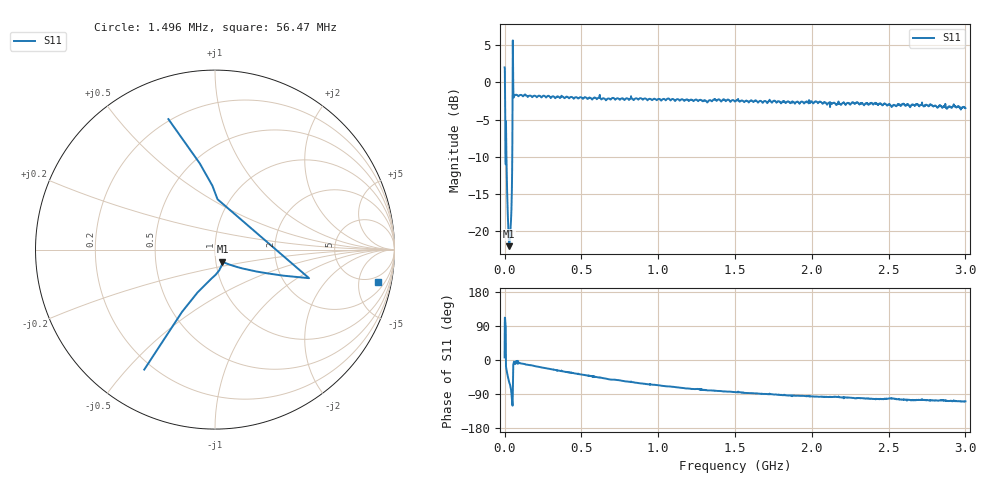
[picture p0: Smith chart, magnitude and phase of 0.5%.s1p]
# HZ S RI R 50
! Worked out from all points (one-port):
!   2020 points, 10 kHz to 3 GHz, reference 50 ohm
!   lowest |S11| = -22.1 dB at 29.73 MHz (marker M1), VSWR 1.17, Z = 53.8 - j7.29 ohm
!   |S11| at or under -10 dB: 6.7 MHz to 7.705 MHz (1.005 MHz wide, 14 % of centre); 11.91 MHz to 49.77 MHz (37.86 MHz wide, 123 % of centre)
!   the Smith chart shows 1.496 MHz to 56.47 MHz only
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10000  1.254 0.1477
7439395  0.0142 0.2802
1.635467e7  0.1528 -0.105
1.932643e7  0.109 -0.0926
2.378406e7  0.07 -0.0795
2.972758e7  0.0411 -0.0673
3.56711e7  0.0379 -0.0844
3.715698e7  0.0355 -0.0908
3.864285e7  0.0332 -0.0975
4.310049e7  0.015 -0.1263
5.64734e7  0.9064 -0.1828
6.241692e7  0.8083 -0.0722
6.687456e7  0.815 -0.085
6.836043e7  0.8064 -0.1539
6.984631e7  0.8206 -0.0684
7.430395e7  0.8189 -0.0948
3.759374e8  0.696 -0.399
6.047628e8  0.5465 -0.5573
7.503789e8  0.4497 -0.6172
8.930233e8  0.3647 -0.6858
1.126306e9  0.235 -0.7356
1.500748e9  0.0685 -0.7404
1.875189e9  -0.0514 -0.7419
2.251117e9  -0.1191 -0.7008
2.405648e9  -0.1612 -0.702
2.518575e9  -0.1367 -0.6738
2.625558e9  -0.1863 -0.6838
3e9  -0.2184 -0.6347
